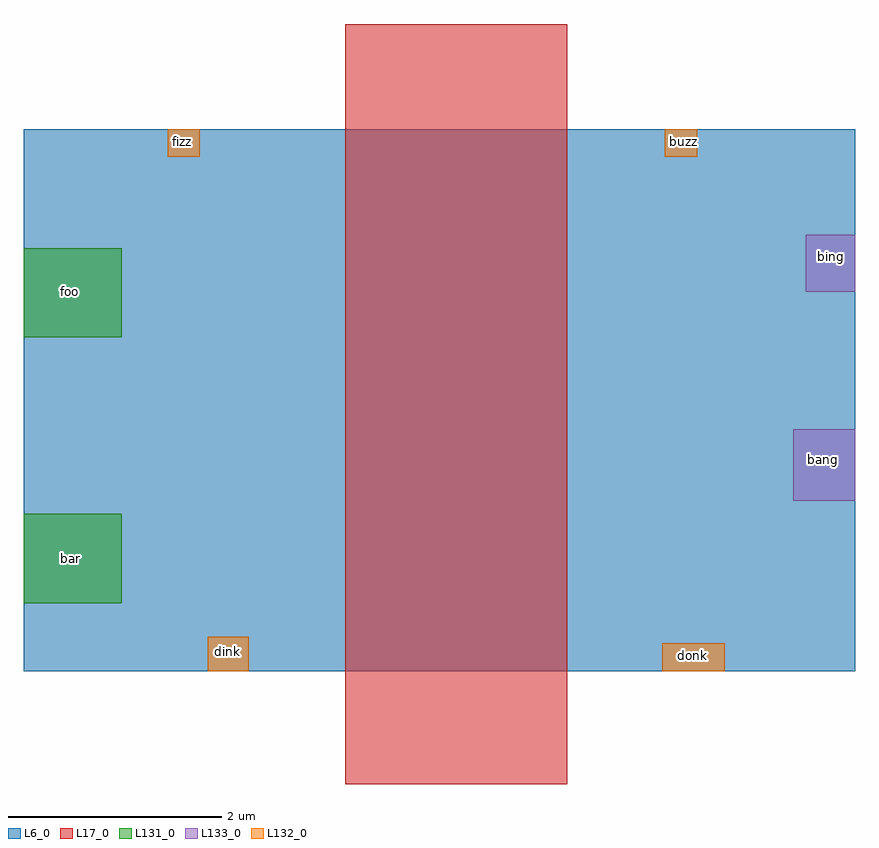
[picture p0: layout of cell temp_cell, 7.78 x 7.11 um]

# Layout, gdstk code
import gdstk
lib = gdstk.Library(unit=1e-6, precision=1e-09)
def R(c, l, rs):  # rectangles x0, y0, x1, y1
    for r in rs: c.add(gdstk.rectangle(r[:2], r[2:], *l))
L6_0 = (6, 0)
L17_0 = (17, 0)
L131_0 = (131, 0)
L132_0 = (132, 0)
L133_0 = (133, 0)

temp_cell = lib.new_cell('temp_cell')
R(temp_cell, L6_0, [(0,1.055,7.775,6.12)])
R(temp_cell, L17_0, [(3.005,0,5.08,7.105)])
R(temp_cell, L131_0, [(0,1.69,0.915,2.525), (0,4.175,0.915,5.01)])
R(temp_cell, L132_0, [(1.72,1.055,2.105,1.375), (5.97,1.055,6.555,1.315), (1.345,5.865,1.645,6.12), (5.995,5.865,6.295,6.12)])
R(temp_cell, L133_0, [(7.195,2.65,7.775,3.315), (7.31,4.6,7.775,5.135)])
temp_cell.add(gdstk.Label('bar', (0.435,2.11), layer=131, texttype=0))
temp_cell.add(gdstk.Label('foo', (0.425,4.605), layer=131, texttype=0))
temp_cell.add(gdstk.Label('donk', (6.25,1.2), layer=132, texttype=0))
temp_cell.add(gdstk.Label('dink', (1.91,1.235), layer=132, texttype=0))
temp_cell.add(gdstk.Label('buzz', (6.17,6.01), layer=132, texttype=0))
temp_cell.add(gdstk.Label('fizz', (1.485,6.005), layer=132, texttype=0))
temp_cell.add(gdstk.Label('bang', (7.48,3.03), layer=133, texttype=0))
temp_cell.add(gdstk.Label('bing', (7.555,4.935), layer=133, texttype=0))

lib.write_gds('temp_cell.gds')
